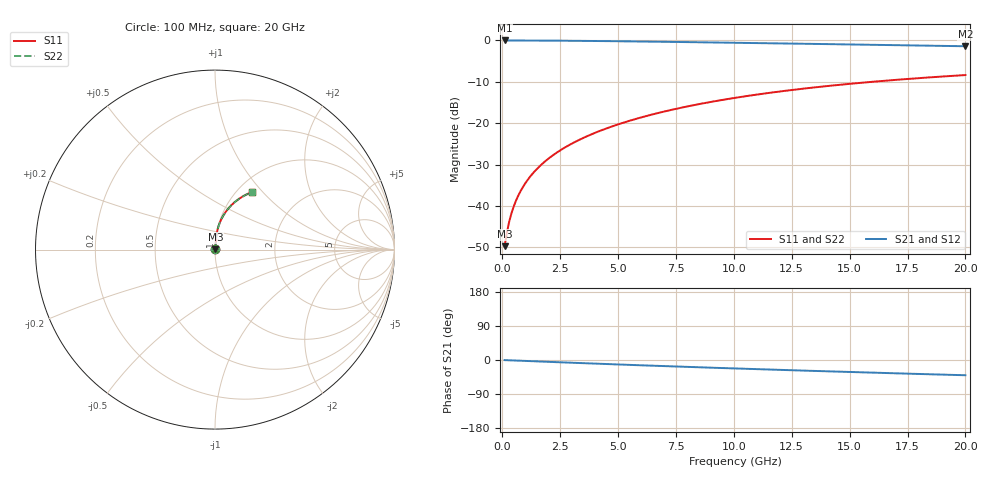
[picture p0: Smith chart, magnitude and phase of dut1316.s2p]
! Touchstone file exported from HFSS 2024.1.0
!  File:  C:/UserFiles/LocalFiles/RDL_TSV_Batchsim/temp_RDL_top_1316_1780364870.aedt
!  Generated:  09:50:04 AM Jun  2, 2026
!  Design:  RDL_top
!  Project:  temp_RDL_top_1316_1780364870
!  Setup:  Setup1
!  Solution:  Sweep
! Variables:
!  dtsv = 10.80580581um
!  hbump = 3um
!  htsv = 73.42um
!  ldown = 100um
!  lrdl = 541.7um
!  p = 40
!  p1 = 56.43um
!  rhole = 1um
!  t = 450um
!  tdown = 3.915915916um
!  trdl = 3.54um
!  wdown = 15.38538539um
!  wrdl = 22.86um
# GHz S MA R 50.000000
! Terminal data exported
! Port[1] = Box2_T1
! Port[2] = Box2_T2
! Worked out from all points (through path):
!   200 points, 100 MHz to 20 GHz, reference 50 ohm
!   highest |S21| = -0.02 dB at 100 MHz (marker M1); lowest = -1.4 dB at 20 GHz (marker M2)
!   group delay of S21, straight-line fit = 5.54 ps
!   lowest |S11| = -49.7 dB at 100 MHz (marker M3), VSWR 1.01, Z = 50.3 + j0.204 ohm
!   |S11| at or under -10 dB: start of sweep to 15.99 GHz
!   |S22| runs from -49.7 to -8.4 dB; largest |S21 - S12| = 3.7e-15
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0.1  0.003277 38.2  0.9974 -0.3  0.9974 -0.3  0.003277 38.2
! Gamma 0 0 0 0
! Port Impedance 50 0 50 0
0.2  0.004811 55.8  0.9973 -0.5  0.9973 -0.5  0.004811 55.8
0.3  0.006513 64.2  0.9971 -0.8  0.9971 -0.8  0.006513 64.2
0.4  0.008248 69.1  0.9969 -1.0  0.9969 -1.0  0.008248 69.1
0.5  0.009998 72.3  0.9967 -1.2  0.9967 -1.2  0.009998 72.3
0.6  0.01176 74.7  0.9966 -1.5  0.9966 -1.5  0.01176 74.7
0.8  0.01533 77.9  0.9962 -2.0  0.9962 -2.0  0.01533 77.9
1.1  0.02076 80.7  0.9956 -2.7  0.9956 -2.7  0.02076 80.7
1.5  0.02812 82.7  0.9946 -3.7  0.9946 -3.7  0.02812 82.7
1.8  0.03371 83.6  0.9937 -4.4  0.9937 -4.4  0.03371 83.6
2.1  0.03936 84.1  0.9926 -5.1  0.9926 -5.1  0.03936 84.1
2.7  0.05082 84.7  0.99 -6.5  0.99 -6.5  0.05082 84.7
3.5  0.06645 84.8  0.9858 -8.4  0.9858 -8.4  0.06645 84.7
4.2  0.08044 84.4  0.9816 -10.0  0.9816 -10.0  0.08043 84.4
5  0.09674 83.7  0.9762 -11.8  0.9762 -11.8  0.09673 83.7
6.8  0.1343 81.3  0.9626 -15.7  0.9626 -15.7  0.1343 81.3
8.4  0.168 78.7  0.9496 -19.0  0.9496 -19.0  0.1679 78.7
10.1  0.2034 75.5  0.9352 -22.4  0.9352 -22.4  0.2033 75.5
11.7  0.2358 72.5  0.9215 -25.5  0.9215 -25.5  0.2357 72.5
13.4  0.2689 69.2  0.9068 -28.7  0.9068 -28.7  0.2689 69.2
16.7  0.3285 63.0  0.8779 -34.6  0.8779 -34.6  0.3285 63.0
20  0.3813 57.2  0.8491 -40.2  0.8491 -40.2  0.3812 57.1
